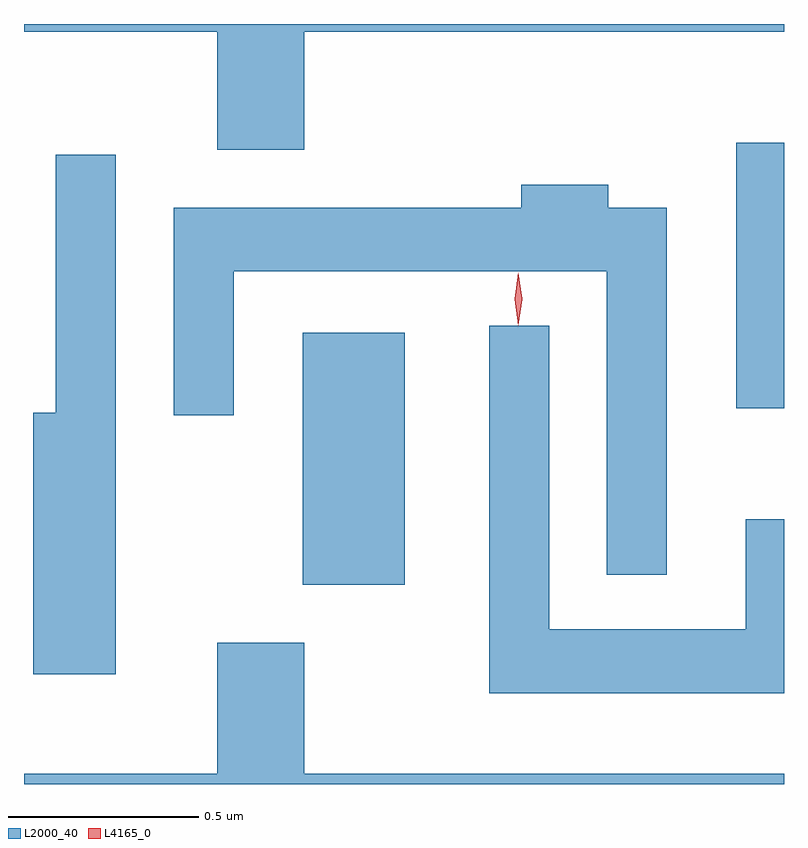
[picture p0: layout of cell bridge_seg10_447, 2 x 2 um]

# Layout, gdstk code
import gdstk
lib = gdstk.Library(unit=1e-6, precision=1e-09)
def R(c, l, rs):  # rectangles x0, y0, x1, y1
    for r in rs: c.add(gdstk.rectangle(r[:2], r[2:], *l))
def P(c, l, *ps):  # polygons
    for p in ps: c.add(gdstk.Polygon(p, *l))
L2000_40 = (2000, 40)
L4165_0 = (4165, 0)

bridge_seg10_447 = lib.new_cell('bridge_seg10_447')
R(bridge_seg10_447, L2000_40, [(1439.966,2083.601,1440.234,2084.264), (1441.106,2084.066,1441.232,2084.764)])
P(bridge_seg10_447, L2000_40, [(1439.969,2085.056),(1441.232,2085.056),(1441.232,2085.077),(1439.232,2085.077),(1439.232,2085.056),(1439.741,2085.056),(1439.741,2084.746),(1439.969,2084.746)],
  [(1439.474,2084.733),(1439.316,2084.733),(1439.316,2084.054),(1439.256,2084.054),(1439.256,2083.366),(1439.474,2083.366)],
  [(1440.924,2084.594),(1440.769,2084.594),(1440.769,2084.654),(1440.541,2084.654),(1440.541,2084.594),(1439.626,2084.594),(1439.626,2084.048),(1439.784,2084.048),(1439.784,2084.426),(1440.766,2084.426),(1440.766,2083.628),(1440.924,2083.628)],
  [(1441.232,2083.774),(1441.131,2083.774),(1441.131,2083.484),(1440.614,2083.484),(1440.614,2084.283),(1440.456,2084.283),(1440.456,2083.316),(1441.232,2083.316)],
  [(1441.232,2083.104),(1439.969,2083.104),(1439.969,2083.449),(1439.741,2083.449),(1439.741,2083.104),(1439.232,2083.104),(1439.232,2083.077),(1441.232,2083.077)])
P(bridge_seg10_447, L4165_0, [(1440.533,2084.283),(1440.532,2084.284),(1440.523,2084.353),(1440.532,2084.422),(1440.533,2084.423),(1440.533,2084.422),(1440.543,2084.353),(1440.533,2084.284)],
  [(1440.532,2084.287),(1440.523,2084.354),(1440.532,2084.42),(1440.533,2084.42),(1440.533,2084.42),(1440.543,2084.354),(1440.533,2084.287),(1440.533,2084.287)])

lib.write_gds('bridge_seg10_447.gds')
